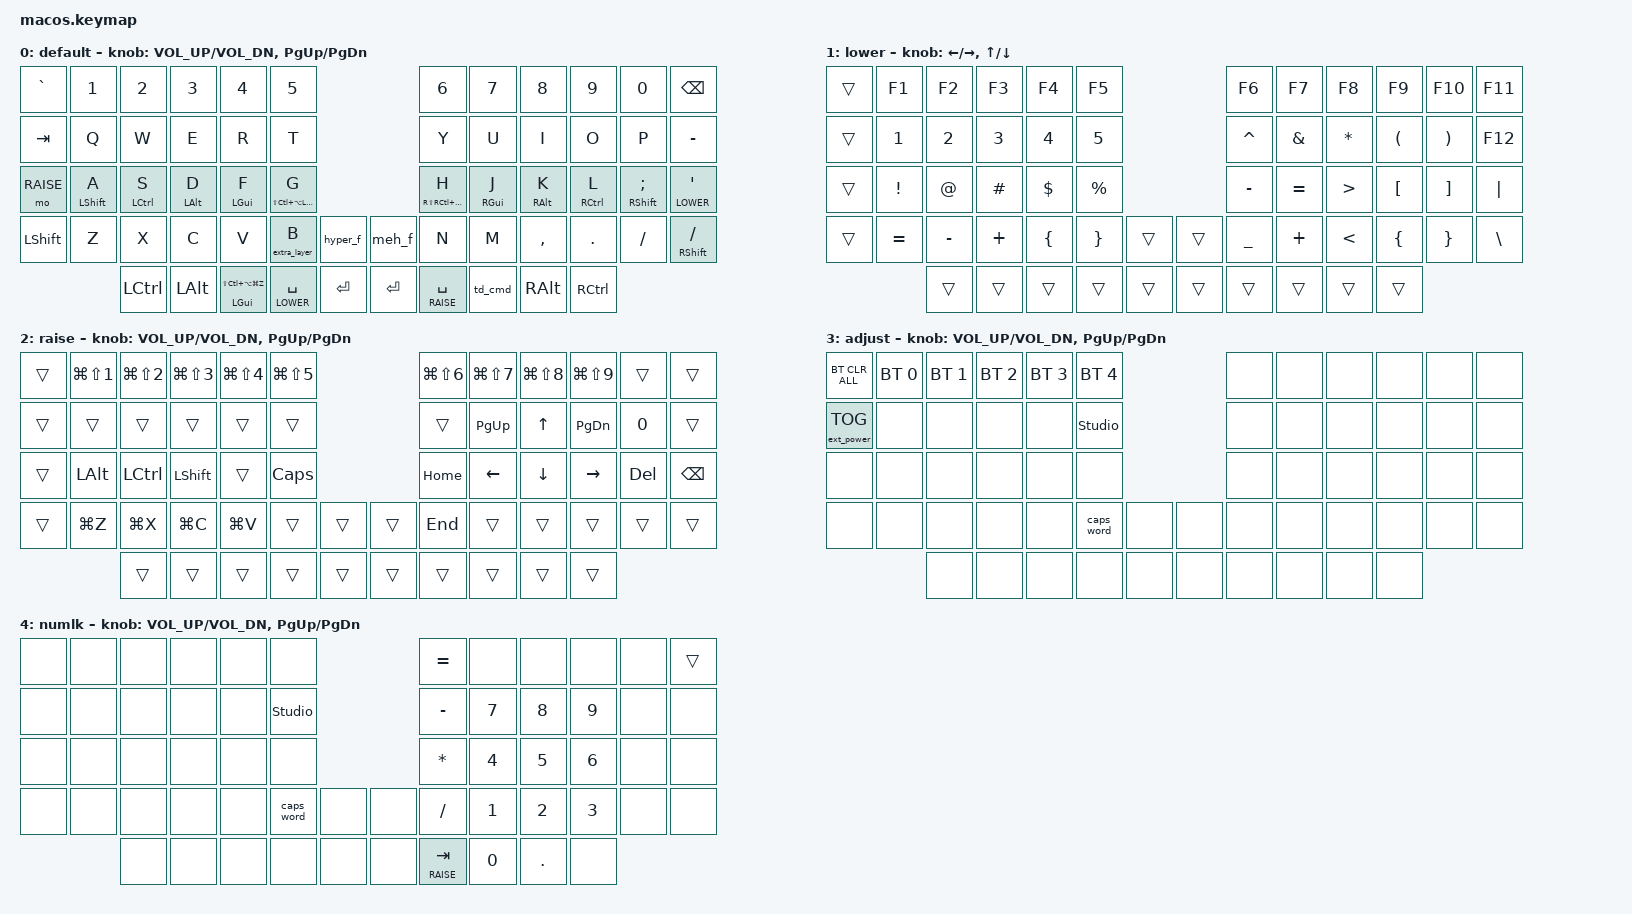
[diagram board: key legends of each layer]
/*
 * Profile: macos
 * Description: macOS-optimized with SCAG home row mods, Hyper/Meh, encoder tap-dances, combos, numpad layer, Cmd+Shift shortcuts
 * Created: 2026-02-08
 * Updated: 2026-02-09
 * Based on: default
 */

/*
 * Copyright (c) 2020 The ZMK Contributors
 *
 * SPDX-License-Identifier: MIT
 */

#include <behaviors.dtsi>
#include <dt-bindings/zmk/bt.h>
#include <dt-bindings/zmk/ext_power.h>
#include <dt-bindings/zmk/keys.h>
#include <dt-bindings/zmk/pointing.h>

#define BASE 0
#define LOWER 1
#define RAISE 2
#define ADJUST 3
#define extra_layer 4

/ {
    // Activate ADJUST layer by pressing raise and lower

    conditional_layers {
        compatible = "zmk,conditional-layers";

        adjust_layer {
            if-layers = <LOWER RAISE>;
            then-layer = <ADJUST>;
        };
    };

    combos {
        compatible = "zmk,combos";

        backspace {
            bindings = <&kp BACKSPACE>;
            key-positions = <32 31>;
        };

        delete {
            bindings = <&kp DELETE>;
            key-positions = <27 33>;
        };

        esc {
            bindings = <&kp ESCAPE>;
            key-positions = <25 41>;
        };

        esc2 {
            bindings = <&kp ESCAPE>;
            key-positions = <0 12>;
        };

        fwd_delete {
            bindings = <&kp DELETE>;
            key-positions = <28 27>;
        };

        shift_caps {
            bindings = <&td_caps>;
            key-positions = <36 49>;
        };

        numlk_toggle {
            bindings = <&tog extra_layer>;
            key-positions = <40 41>;
        };

        nav_back {
            bindings = <&kp LG(LBKT)>;
            key-positions = <39 40>;
        };

        nav_forward {
            bindings = <&kp LG(RBKT)>;
            key-positions = <45 46>;
        };

        scroll_up {
            bindings = <&msc SCRL_UP>;
            key-positions = <22 23>;
        };

        scroll_down {
            bindings = <&msc SCRL_DOWN>;
            key-positions = <34 35>;
        };
    };

    macros {
        hyper: hyper {
            compatible = "zmk,behavior-macro";
            #binding-cells = <0>;
            bindings
                = <&macro_press &kp LSHFT &kp LCTRL &kp LALT &kp LGUI>
                , <&macro_pause_for_release>
                , <&macro_release &kp LSHFT &kp LCTRL &kp LALT &kp LGUI>
                ;
        };

        hyper_space: hyper_space {
            compatible = "zmk,behavior-macro";
            #binding-cells = <0>;
            bindings
                = <&macro_press &kp LSHFT &kp LCTRL &kp LALT &kp LGUI>
                , <&macro_tap &kp SPACE>
                , <&macro_release &kp LSHFT &kp LCTRL &kp LALT &kp LGUI>
                ;
        };

        hyper_f: hyper_f {
            compatible = "zmk,behavior-macro";
            #binding-cells = <0>;
            bindings
                = <&macro_press &kp LSHFT &kp LCTRL &kp LALT &kp LGUI>
                , <&macro_tap &kp F>
                , <&macro_release &kp LSHFT &kp LCTRL &kp LALT &kp LGUI>
                ;
        };

        meh_f: meh_f {
            compatible = "zmk,behavior-macro";
            #binding-cells = <0>;
            bindings
                = <&macro_press &kp RSHFT &kp RCTRL &kp RALT>
                , <&macro_tap &kp F>
                , <&macro_release &kp RSHFT &kp RCTRL &kp RALT>
                ;
        };

    };

    behaviors {
        caps: caps {
            compatible = "zmk,behavior-caps-word";
            label = "CAPS";
            #binding-cells = <0>;
            continue-list = <POUND MINUS BACKSPACE UNDERSCORE>;
        };

        hml: home_row_mod_left {
            compatible = "zmk,behavior-hold-tap";
            #binding-cells = <2>;
            flavor = "balanced";
            tapping-term-ms = <280>;
            quick-tap-ms = <175>;
            require-prior-idle-ms = <150>;
            bindings = <&kp>, <&kp>;
            hold-trigger-key-positions = <6 7 8 9 10 11 18 19 20 21 22 23 30 31 32 33 34 35 43 44 45 46 47 48 49 50 51 52 53 54 55 56 57 58 59>;
            hold-trigger-on-release;
        };

        lts: layer_tap_smart {
            compatible = "zmk,behavior-hold-tap";
            #binding-cells = <2>;
            flavor = "balanced";
            tapping-term-ms = <280>;
            quick-tap-ms = <175>;
            require-prior-idle-ms = <150>;
            bindings = <&mo>, <&kp>;
        };

        td_cmd: tap_dance_cmd {
            compatible = "zmk,behavior-tap-dance";
            #binding-cells = <0>;
            tapping-term-ms = <200>;
            bindings = <&kp RGUI>, <&hyper_space>;
        };

        td_caps: tap_dance_caps {
            compatible = "zmk,behavior-tap-dance";
            #binding-cells = <0>;
            tapping-term-ms = <200>;
            bindings = <&caps>, <&kp CLCK>;
        };

        td_enc_l: tap_dance_enc_left {
            compatible = "zmk,behavior-tap-dance";
            #binding-cells = <0>;
            tapping-term-ms = <200>;
            bindings = <&none>, <&hyper_f>;
        };

        td_enc_r: tap_dance_enc_right {
            compatible = "zmk,behavior-tap-dance";
            #binding-cells = <0>;
            tapping-term-ms = <200>;
            bindings = <&none>, <&meh_f>;
        };

        htk: hold_tap_kp {
            compatible = "zmk,behavior-hold-tap";
            #binding-cells = <2>;
            flavor = "balanced";
            tapping-term-ms = <200>;
            quick-tap-ms = <175>;
            bindings = <&kp>, <&kp>;
        };

        hmr: home_row_mod_right {
            compatible = "zmk,behavior-hold-tap";
            #binding-cells = <2>;
            flavor = "balanced";
            tapping-term-ms = <280>;
            quick-tap-ms = <175>;
            require-prior-idle-ms = <150>;
            bindings = <&kp>, <&kp>;
            hold-trigger-key-positions = <0 1 2 3 4 5 12 13 14 15 16 17 24 25 26 27 28 29 36 37 38 39 40 41 42 50 51 52 53 54 55 56 57 58 59>;
            hold-trigger-on-release;
        };
    };

    keymap {
        compatible = "zmk,keymap";

        default_layer {
            display-name = "default";

            // ------------------------------------------------------------------------------------------------------------
            // |  `~   |  1  |  2  |  3   |  4   |  5   |                   |  6   |  7    |  8    |  9   |   0   | BKSPC |
            // |  TAB  |  Q  |  W  |  E   |  R   |  T   |                   |  Y   |  U    |  I    |  O   |   P   |   -   |
            // | NMLK |sh/A |ct/S |op/D  |cm/F  |hy/G  |                   | me/H | cm/J  | op/K  | ct/L | sh/;  |   '   |
            // | SHIFT |  Z  |  X  |  C   |  V   |  B   |   [    |  |   ]   |  N   |  M    |  ,    |  .   |   /   | sf//  |
            //               | CTL | ALT  | CMD  |LW/SPC|  ENTER |  | ENTER |RS/SPC| CMD   | ALT   | CTRL |

            bindings = <
&kp GRAVE         &kp N1  &kp N2    &kp N3    &kp N4     &kp N5                                     &kp N6     &kp N7     &kp N8     &kp N9    &kp N0    &kp BSPC
&kp TAB           &kp Q   &kp W     &kp E     &kp R      &kp T                                      &kp Y      &kp U      &kp I      &kp O     &kp P     &kp MINUS
&mo RAISE         &hml LSHFT A  &hml LCTRL S  &hml LALT D  &hml LGUI F  &hml LS(LC(LA(LGUI))) G                      &hmr RS(RC(RALT)) H      &hmr RGUI J  &hmr RALT K  &hmr RCTRL L  &hmr RSHFT SEMI  &lts LOWER SQT
&kp LSHFT         &kp Z   &kp X     &kp C     &kp V      &lts extra_layer B      &hyper_f    &meh_f              &kp N      &kp M      &kp COMMA  &kp DOT   &kp FSLH  &mt RSHFT FSLH
                          &kp LCTRL  &kp LALT  &htk LGUI LS(LC(LA(LG(Z))))   &lts LOWER SPACE  &kp ENTER     &kp ENTER         &lts RAISE SPACE  &td_cmd   &kp RALT   &kp RCTRL
            >;

            sensor-bindings = <&inc_dec_kp C_VOL_UP C_VOL_DN &inc_dec_kp PG_UP PG_DN>;
        };

        lower_layer {
            display-name = "lower";

            // TODO: Some binds are waiting for shifted keycode support.
            // ------------------------------------------------------------------------------------------------------------
            // |       |  F1 |  F2 |  F3  |  F4  |  F5  |                   |  F6  |  F7   |  F8   |  F9  |  F10  |  F11  |
            // |   `   |  1  |  2  |  3   |  4   |  5   |                   |  6   |  7    |  8    |  9   |   0   |  F12  |
            // |       |  !  |  @  |  #   |  $   |  %   |                   |  ^   |  &    |  *    |  (   |   )   |   |   |
            // |       |  =  |  -  |  +   |  {   |  }   |        |  |       |  [   |  ]    |  ;    |  :   |   \   |       |
            //               |     |      |      |      |        |  |       |      |       |       |      |

            bindings = <
&trans  &kp F1     &kp F2     &kp F3    &kp F4    &kp F5                       &kp F6          &kp F7         &kp F8          &kp F9                &kp F10                &kp F11
&trans  &kp N1     &kp N2     &kp N3    &kp N4    &kp N5                       &kp CARET       &kp AMPERSAND  &kp ASTRK       &kp LEFT_PARENTHESIS  &kp RIGHT_PARENTHESIS  &kp F12
&trans  &kp EXCL   &kp AT     &kp HASH  &kp DLLR  &kp PRCNT                    &kp MINUS       &kp EQUAL      &kp GREATER_THAN  &kp LEFT_BRACKET      &kp RIGHT_BRACKET      &kp PIPE
&trans  &kp EQUAL  &kp MINUS  &kp PLUS  &kp LBRC  &kp RBRC   &trans    &trans  &kp UNDERSCORE  &kp PLUS       &kp LESS_THAN   &kp LEFT_BRACE        &kp RIGHT_BRACE        &kp BACKSLASH
                   &trans     &trans    &trans    &trans     &trans    &trans  &trans          &trans         &trans          &trans
            >;

            sensor-bindings =
                <&inc_dec_kp LEFT_ARROW RIGHT_ARROW>,
                <&inc_dec_kp UP_ARROW DOWN_ARROW>;
        };

        raise_layer {
            display-name = "raise";

            // ------------------------------------------------------------------------------------------------------------
            // | BTCLR | BT1  | BT2  |  BT3  |  BT4  |  BT5 |                |      |      |       |      |       |       |
            // |       | INS  | PSCR | GUI   |       |      |                | PGUP |      |   ^   |      |       |       |
            // |       | ALT  | CTRL | SHIFT |       | CAPS |                | PGDN |   <- |   v   |  ->  |  DEL  | BKSPC |
            // |       |⌘+Z   |⌘+X   |⌘+C    |⌘+V    |      |      |  |      |      |      |       |      |       |       |
            //                |      |       |       |      |      |  |      |      |      |       |      |

            bindings = <
&trans  &kp LG(LS(N1))  &kp LG(LS(N2))  &kp LG(LS(N3))  &kp LG(LS(N4))  &kp LG(LS(N5))                      &kp LG(LS(N6))  &kp LG(LS(N7))  &kp LG(LS(N8))  &kp LG(LS(N9))  &trans   &trans
&trans  &trans      &trans     &trans       &trans       &trans                      &trans     &kp PG_UP &kp UP    &kp PG_DN  &kp N0   &trans
&trans  &kp LALT    &kp LCTRL  &kp LSHFT    &trans       &kp CLCK                    &kp HOME   &kp LEFT  &kp DOWN  &kp RIGHT  &kp DEL  &kp BSPC
&trans  &kp LG(Z)   &kp LG(X)  &kp LG(C)    &kp LG(V)    &trans    &trans    &trans  &kp END    &trans    &trans    &trans     &trans   &trans
                    &trans     &trans       &trans       &trans    &trans    &trans  &trans     &trans    &trans    &trans
            >;

            sensor-bindings = <&inc_dec_kp C_VOL_UP C_VOL_DN &inc_dec_kp PG_UP PG_DN>;
        };

        adjust_layer {
            // ----------------------------------------------------------------------------------------------------------------------------
            // | BTCLR  |  BT1    |  BT2    |   BT3   |   BT4   |   BT5   |                  |      |      |       |      |       |       |
            // | EXTPWR | RGB_HUD | RGB_HUI | RGB_SAD | RGB_SAI | RGB_EFF |                  |      |      |       |      |       |       |
            // |        | RGB_BRD | RGB_BRI |         |         |         |                  |      |      |       |      |       |       |
            // |        |         |         |         |         |         | RGB_TOG | |      |      |      |       |      |       |       |
            //                    |         |         |         |         |         | |      |      |      |       |      |

            display-name = "adjust";
            bindings = <
&bt BT_CLR_ALL     &bt BT_SEL 0  &bt BT_SEL 1  &bt BT_SEL 2  &bt BT_SEL 3  &bt BT_SEL 4                  &none  &none  &none  &none  &none  &none
&ext_power EP_TOG  &none         &none         &none         &none         &studio_unlock                         &none  &none  &none  &none  &none  &none
&none              &none         &none         &none         &none         &none                         &none  &none  &none  &none  &none  &none
&none              &none         &none         &none         &none         &caps_word    &none    &none  &none  &none  &none  &none  &none  &none
                                 &none         &none         &none         &none         &none    &none  &none  &none  &none  &none
            >;

            sensor-bindings = <&inc_dec_kp C_VOL_UP C_VOL_DN &inc_dec_kp PG_UP PG_DN>;
        };
        extra_layer {
            // ----------------------------------------------------------------------------------------------------------------------------
            // | BTCLR  |  BT1    |  BT2    |   BT3   |   BT4   |   BT5   |                  |      |      |       |      |       |       |
            // | EXTPWR | RGB_HUD | RGB_HUI | RGB_SAD | RGB_SAI | RGB_EFF |                  |      |      |       |      |       |       |
            // |        | RGB_BRD | RGB_BRI |         |         |         |                  |      |      |       |      |       |       |
            // |        |         |         |         |         |         | RGB_TOG | |      |      |      |       |      |       |       |
            //                    |         |         |         |         |         | |      |      |      |       |      |

            display-name = "numlk";

            // ----------------------------------------------------------------------------------------------------------------------------
            // |        |         |         |         |         |         |   =    |      |       |      |       | BSPC  |
            // |        |         |         |         |         | Studio  |   -    |   7  |   8   |   9  |       |       |
            // |        |         |         |         |         |         |   *    |   4  |   5   |   6  |       |       |
            // |        |         |         |         |         | CpsWd   |     |  |   /  |   1   |   2  |   3   |       |       |
            //                    |         |         |         |         |     |  | RS/TB|   0   |   .  |       |

            bindings = <
&none              &none         &none         &none         &none         &none           &kp EQUAL  &none    &none    &none    &none    &trans
&none              &none         &none         &none         &none         &studio_unlock  &kp MINUS  &kp N7   &kp N8   &kp N9   &none    &none
&none              &none         &none         &none         &none         &none           &kp ASTRK  &kp N4   &kp N5   &kp N6   &none    &none
&none              &none         &none         &none         &none         &caps_word      &none  &none  &kp FSLH   &kp N1   &kp N2   &kp N3   &none    &none
                                 &none         &none         &none         &none           &none  &none  &lts RAISE TAB  &kp N0   &kp DOT    &none
            >;

            sensor-bindings = <&inc_dec_kp C_VOL_UP C_VOL_DN &inc_dec_kp PG_UP PG_DN>;
        };
    };
};
